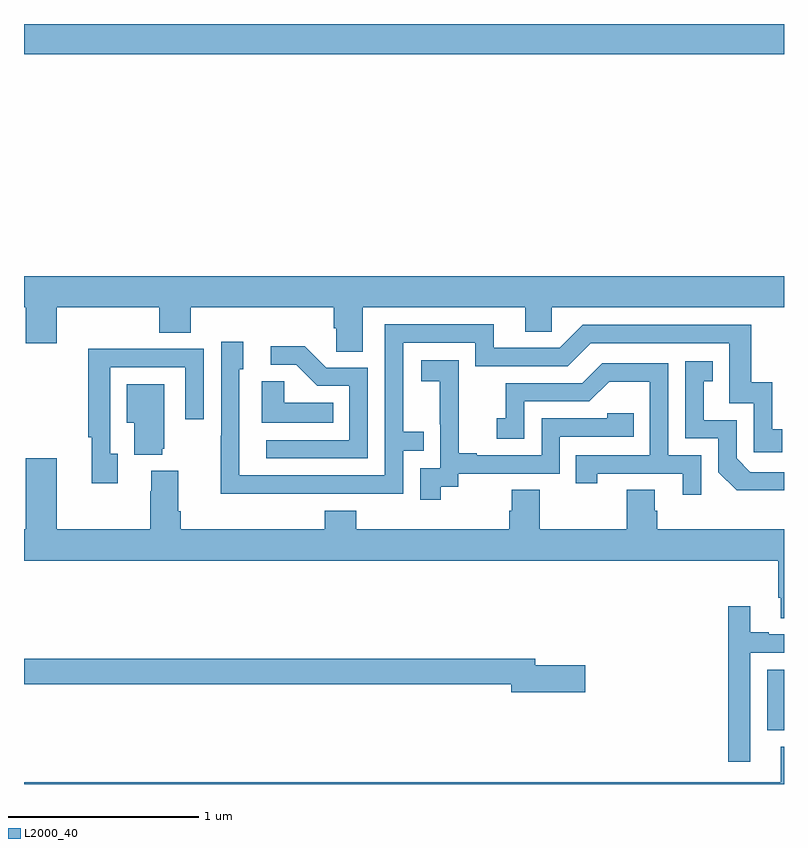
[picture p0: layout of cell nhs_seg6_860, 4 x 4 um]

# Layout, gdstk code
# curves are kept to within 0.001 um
import gdstk
lib = gdstk.Library(unit=1e-6, precision=1e-09)
def R(c, l, rs):  # rectangles x0, y0, x1, y1
    for r in rs: c.add(gdstk.rectangle(r[:2], r[2:], *l))
def P(c, l, *ps):  # polygons
    for p in ps: c.add(gdstk.Polygon(p, *l))
L2000_40 = (2000, 40)

nhs_seg6_860 = lib.new_cell('nhs_seg6_860')
R(nhs_seg6_860, L2000_40, [(168.911,939.782,169,940.102), (165,943.34,169,943.5)])
P(nhs_seg6_860, L2000_40, [(166.783,942.008),(167.639,942.008),(167.639,941.881),(167.778,941.881),(167.778,942.008),(169,942.008),(169,942.172),(165,942.172),(165,942.008),(165.008,942.008),(165.008,941.82),(165.172,941.82),(165.172,942.008),(165.713,942.008),(165.713,941.875),(165.878,941.875),(165.878,942.008),(166.631,942.008),(166.631,941.899),(166.644,941.899),(166.644,941.776),(166.783,941.776)],
  [(166.499,941.028),(166.995,941.028),(166.995,941.253),(167.105,941.253),(167.105,941.354),(166.995,941.354),(166.995,941.823),(167.376,941.823),(167.376,941.7),(167.862,941.7),(167.982,941.82),(168.711,941.82),(168.711,941.505),(168.84,941.505),(168.84,941.247),(168.991,941.247),(168.991,941.367),(168.938,941.367),(168.938,941.614),(168.827,941.614),(168.827,941.916),(167.94,941.916),(167.82,941.796),(167.473,941.796),(167.473,941.919),(166.899,941.919),(166.899,941.124),(166.134,941.124),(166.134,941.682),(166.153,941.682),(166.153,941.827),(166.038,941.827),(166.038,941.333),(166.036,941.333),(166.036,941.027)],
  [(166.809,941.691),(166.59,941.691),(166.477,941.804),(166.299,941.804),(166.299,941.706),(166.433,941.706),(166.544,941.595),(166.713,941.595),(166.713,941.31),(166.275,941.31),(166.275,941.214),(166.809,941.214)],
  [(165.493,941.238),(165.453,941.238),(165.453,941.694),(165.849,941.694),(165.849,941.421),(165.945,941.421),(165.945,941.79),(165.629,941.79),(165.629,941.792),(165.337,941.792),(165.337,941.326),(165.356,941.326),(165.356,941.082),(165.493,941.082)],
  [(167.194,941.065),(167.286,941.065),(167.286,941.133),(167.82,941.133),(167.82,941.328),(168.209,941.328),(168.209,941.451),(168.069,941.451),(168.069,941.424),(167.724,941.424),(167.724,941.229),(167.383,941.229),(167.383,941.242),(167.288,941.242),(167.288,941.525),(167.289,941.525),(167.289,941.731),(167.091,941.731),(167.091,941.621),(167.189,941.621),(167.189,941.393),(167.19,941.393),(167.19,941.163),(167.085,941.163),(167.085,940.995),(167.194,940.995)],
  [(169,941.142),(168.822,941.142),(168.75,941.214),(168.75,941.415),(168.577,941.415),(168.577,941.619),(168.626,941.619),(168.626,941.725),(168.48,941.725),(168.48,941.319),(168.654,941.319),(168.654,941.142),(168.752,941.045),(169,941.045)],
  [(168.564,941.229),(168.39,941.229),(168.39,941.715),(168.044,941.715),(167.939,941.61),(167.536,941.61),(167.536,941.425),(167.487,941.425),(167.487,941.316),(167.634,941.316),(167.634,941.514),(167.976,941.514),(168.08,941.618),(168.294,941.618),(168.294,941.229),(167.905,941.229),(167.905,941.082),(168.016,941.082),(168.016,941.133),(168.467,941.133),(168.467,941.022),(168.564,941.022)],
  [(166.628,941.506),(166.371,941.506),(166.371,941.621),(166.25,941.621),(166.25,941.402),(166.628,941.402)],
  [(165.728,941.265),(165.739,941.265),(165.739,941.605),(165.542,941.605),(165.542,941.402),(165.581,941.402),(165.581,941.234),(165.728,941.234)],
  [(169,940.84),(168.332,940.84),(168.332,940.938),(168.319,940.938),(168.319,941.048),(168.172,941.048),(168.172,940.84),(167.715,940.84),(167.715,941.048),(167.567,941.048),(167.567,940.938),(167.555,940.938),(167.555,940.84),(166.748,940.84),(166.748,940.939),(166.583,940.939),(166.583,940.84),(165.824,940.84),(165.824,940.936),(165.811,940.936),(165.811,941.149),(165.671,941.149),(165.671,941.042),(165.664,941.042),(165.664,940.84),(165.172,940.84),(165.172,941.215),(165.008,941.215),(165.008,940.84),(165,940.84),(165,940.676),(168.971,940.676),(168.971,940.48),(168.983,940.48),(168.983,940.372),(169,940.372)],
  [(168.822,940.191),(169,940.191),(169,940.287),(168.919,940.287),(168.919,940.3),(168.823,940.3),(168.823,940.435),(168.706,940.435),(168.706,939.618),(168.822,939.618)],
  [(167.953,940.124),(167.692,940.124),(167.692,940.16),(165,940.16),(165,940.024),(167.564,940.024),(167.564,939.982),(167.953,939.982)],
  [(169,939.697),(168.983,939.697),(168.983,939.508),(165,939.508),(165,939.5),(169,939.5)])

lib.write_gds('nhs_seg6_860.gds')
